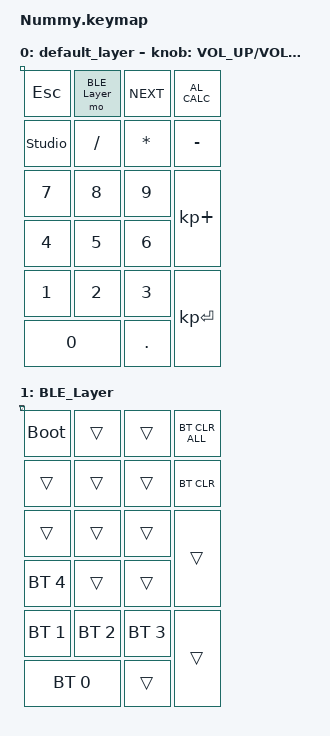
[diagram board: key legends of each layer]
#include <behaviors.dtsi>
#include <dt-bindings/zmk/keys.h>
#include <dt-bindings/zmk/bt.h>


#define BLE_Layer 1

/ {
    behaviors {
        rotary: inc_dec_kp  {
            compatible = "zmk,behavior-sensor-rotate-var";
            #sensor-binding-cells = <2>;
            bindings = <&kp>, <&kp>;
        };
    };
    keymap {
        compatible = "zmk,keymap";

        default_layer {
            bindings = <
                
                &kp ESC  &mo BLE_Layer  &kp K_NEXT      &kp C_AL_CALC
                
                &studio_unlock          &kp SLASH         &kp ASTERISK      &kp MINUS

                &kp N7          &kp N8         &kp N9      &none
  
                &kp N4          &kp N5         &kp N6      &kp KP_PLUS
  
                &kp N1          &kp N2         &kp N3      &none

                &kp N0          &none          &kp PERIOD  &kp KP_ENTER
            >;
            sensor-bindings = <&rotary C_VOL_UP C_VOL_DN>;
        };

        BLE_Layer {
            bindings = <
                &bootloader   &trans        &trans        &bt BT_CLR_ALL

                &trans        &trans        &trans        &bt BT_CLR

                &trans        &trans        &trans        &trans

                &bt BT_SEL 4  &trans        &trans        &trans

                &bt BT_SEL 1  &bt BT_SEL 2  &bt BT_SEL 3  &trans

                &bt BT_SEL 0  &trans        &trans        &trans
            >;
        };
    };
};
